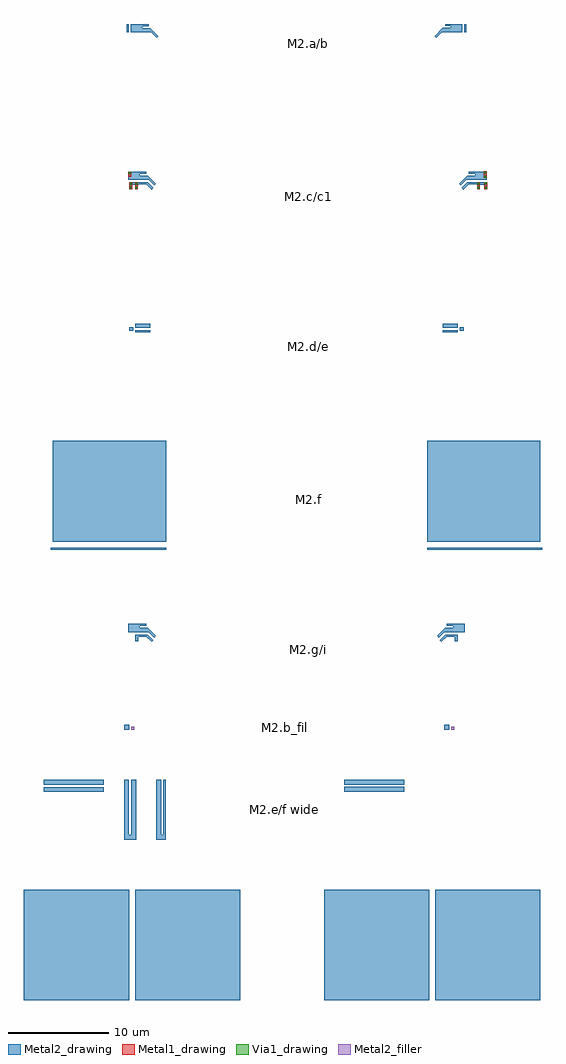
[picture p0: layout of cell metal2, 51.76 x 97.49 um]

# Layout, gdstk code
import gdstk
lib = gdstk.Library(unit=1e-6, precision=1e-09)
def R(c, l, rs):  # rectangles x0, y0, x1, y1
    for r in rs: c.add(gdstk.rectangle(r[:2], r[2:], *l))
def P(c, l, *ps):  # polygons
    for p in ps: c.add(gdstk.Polygon(p, *l))
Metal1_drawing = (8, 0)
Metal2_drawing = (10, 0)
Metal2_filler = (10, 22)
Via1_drawing = (19, 0)

metal2 = lib.new_cell('metal2')
R(metal2, Metal1_drawing, [(-15.455,26.303,-15.18,27.008), (-14.885,26.303,-14.615,27.003), (19.265,26.308,19.535,27.008), (19.99,26.308,20.27,27.008), (19.93,27.468,20.235,28.093), (-15.585,27.578,-15.28,28.083)])
R(metal2, Metal2_drawing, [(-26,-54.667,-15.5,-43.667), (-14.9,-54.667,-4.4,-43.667), (4,-54.667,14.5,-43.667), (15.09,-54.667,25.59,-43.667), (-24,-33.887,-18,-33.397), (6,-33.877,12,-33.387), (-24,-33.157,-18,-32.667), (6,-33.157,12,-32.667), (-16,-27.667,-15.5,-27.167), (16,-27.667,16.5,-27.167), (-23.3,-9.712,-11.805,-9.512), (14.265,-9.682,25.76,-9.482), (-23.115,-8.912,-11.805,1.188), (14.265,-8.912,25.575,1.188), (-14.89,12.033,-13.39,12.233), (15.85,12.043,17.35,12.243), (-15.48,12.163,-15.1,12.543), (17.56,12.163,17.92,12.518), (-14.89,12.473,-13.39,12.863), (15.85,12.473,17.35,12.883), (-15.745,41.983,-15.545,42.823), (17.995,41.983,18.185,42.823)])
P(metal2, Metal2_drawing, [(-16,-38.667),(-16,-32.667),(-15.51,-32.667),(-15.51,-38.177),(-15.28,-38.177),(-15.28,-32.667),(-14.79,-32.667),(-14.79,-38.667)],
  [(-12.79,-38.667),(-12.79,-32.667),(-12.3,-32.667),(-12.3,-38.177),(-12.07,-38.177),(-12.07,-32.667),(-11.82,-32.667),(-11.82,-38.667)],
  [(15.205,41.443),(15.035,41.613),(15.855,42.433),(16.655,42.433),(16.655,42.633),(16.08,42.633),(16.08,42.823),(17.795,42.823),(17.795,41.983),(15.745,41.983)],
  [(15.71,-18.882),(15.54,-18.712),(16.09,-18.162),(17.35,-18.162),(17.35,-18.852),(17.05,-18.852),(17.05,-18.362),(16.23,-18.362)],
  [(15.455,-18.462),(15.29,-18.297),(16.095,-17.492),(16.905,-17.492),(16.905,-17.282),(16.235,-17.282),(16.235,-17.082),(18.045,-17.082),(18.045,-17.922),(15.995,-17.922)],
  [(-13.255,26.283),(-13.775,26.803),(-14.615,26.803),(-14.615,26.303),(-14.885,26.303),(-14.885,27.003),(-13.635,27.003),(-13.085,26.453)],
  [(-13.255,-18.882),(-13.775,-18.362),(-14.595,-18.362),(-14.595,-18.852),(-14.895,-18.852),(-14.895,-18.162),(-13.635,-18.162),(-13.085,-18.712)],
  [(-12.995,26.703),(-13.535,27.243),(-15.585,27.243),(-15.585,28.083),(-13.775,28.083),(-13.775,27.883),(-14.445,27.883),(-14.445,27.673),(-13.625,27.673),(-12.825,26.873)],
  [(-12.995,-18.462),(-13.535,-17.922),(-15.585,-17.922),(-15.585,-17.082),(-13.775,-17.082),(-13.775,-17.282),(-14.445,-17.282),(-14.445,-17.492),(-13.625,-17.492),(-12.825,-18.292)],
  [(-12.745,41.443),(-13.285,41.983),(-15.335,41.983),(-15.335,42.823),(-13.525,42.823),(-13.525,42.623),(-14.195,42.623),(-14.195,42.413),(-13.375,42.413),(-12.575,41.613)],
  [(17.905,26.283),(17.735,26.453),(18.285,27.003),(20.26,27.003),(20.26,26.308),(19.99,26.308),(19.99,26.773),(19.535,26.773),(19.535,26.308),(19.265,26.308),(19.265,26.803),(18.425,26.803)],
  [(17.645,26.703),(17.475,26.873),(18.275,27.673),(19.095,27.673),(19.095,27.883),(18.425,27.883),(18.425,28.083),(20.235,28.083),(20.235,27.243),(18.185,27.243)],
  [(-15.45,26.303),(-15.45,27.003),(-14.525,27.003),(-14.525,26.768),(-15.18,26.768),(-15.18,26.303)])
R(metal2, Metal2_filler, [(-15.28,-27.667,-14.98,-27.367), (16.69,-27.667,16.99,-27.367)])
R(metal2, Via1_drawing, [(-15.445,26.353,-15.255,26.543), (-14.845,26.353,-14.655,26.543), (19.305,26.353,19.495,26.543), (20.065,26.353,20.255,26.543), (-15.41,26.763,-15.22,26.953), (-14.845,26.763,-14.655,26.953), (19.305,26.763,19.495,26.953), (20.03,26.808,20.22,26.998), (19.995,27.478,20.185,27.668), (-15.535,27.883,-15.345,28.073), (19.995,27.893,20.185,28.083)])
metal2.add(gdstk.Label('M2.e/f wide', (0,-35.667), layer=63, texttype=0))
metal2.add(gdstk.Label('M2.a/b', (2.46,40.863), layer=63, texttype=0))
metal2.add(gdstk.Label('M2.c/c1', (2.46,25.588), layer=63, texttype=0))
metal2.add(gdstk.Label('M2.d/e', (2.46,10.658), layer=63, texttype=0))
metal2.add(gdstk.Label('M2.f', (2.46,-4.662), layer=63, texttype=0))
metal2.add(gdstk.Label('M2.g/i', (2.46,-19.667), layer=63, texttype=0))
metal2.add(gdstk.Label('PASS', (-9.54,52.868), layer=63, texttype=0))
metal2.add(gdstk.Label('FAIL', (14.46,52.868), layer=63, texttype=0))
metal2.add(gdstk.Label('5.17 Metaln', (2.46,68.868), layer=63, texttype=0))
metal2.add(gdstk.Label('M2.b_fil', (0,-27.417), layer=63, texttype=0))

lib.write_gds('metal2.gds')
